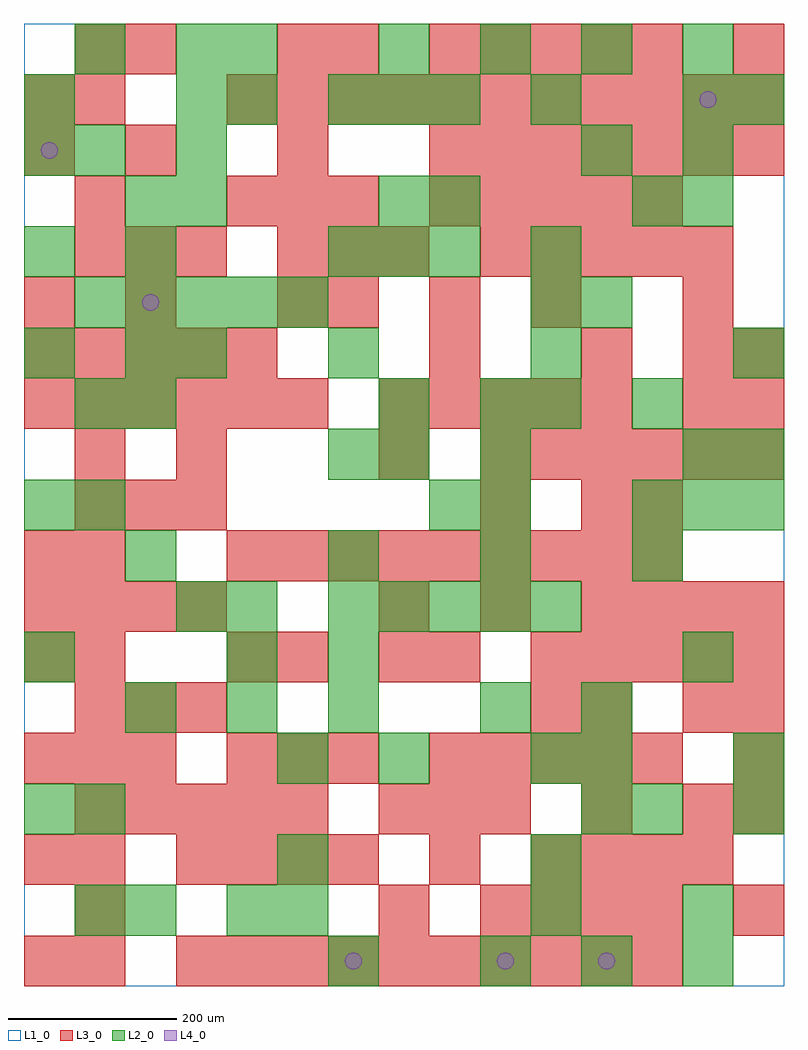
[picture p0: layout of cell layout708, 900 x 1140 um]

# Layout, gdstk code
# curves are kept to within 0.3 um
import gdstk
lib = gdstk.Library(unit=1e-6, precision=1e-09)
def R(c, l, rs):  # rectangles x0, y0, x1, y1
    for r in rs: c.add(gdstk.rectangle(r[:2], r[2:], *l))
def A(c, l, x, y, w, h, nx, ny, dx, dy):  # array of equal rectangles
    R(c, l, [(x+i*dx, y+j*dy, x+i*dx+w, y+j*dy+h) for i in range(nx) for j in range(ny)])
def P(c, l, *ps):  # polygons
    for p in ps: c.add(gdstk.Polygon(p, *l))
L1_0 = (1, 0)
L2_0 = (2, 0)
L3_0 = (3, 0)
L4_0 = (4, 0)

layout708 = lib.new_cell('layout708')
R(layout708, L1_0, [(0,0,900,1140)])
A(layout708, L2_0, 540, 0, 60, 60, 3, 1, 120, 0)
A(layout708, L2_0, 0, 180, 60, 60, 1, 4, 0, 180)
A(layout708, L2_0, 660, 180, 60, 60, 1, 3, 0, 60)
A(layout708, L2_0, 120, 300, 60, 60, 3, 1, 120, 0)
A(layout708, L2_0, 360, 420, 60, 60, 5, 1, 60, 0)
A(layout708, L2_0, 360, 480, 60, 60, 3, 1, 180, 0)
A(layout708, L2_0, 540, 540, 60, 60, 1, 3, 0, 60)
A(layout708, L2_0, 720, 540, 60, 60, 3, 1, 60, 0)
A(layout708, L2_0, 360, 720, 60, 60, 3, 1, 240, 0)
A(layout708, L2_0, 60, 780, 60, 60, 5, 1, 60, 0)
A(layout708, L2_0, 360, 840, 60, 60, 3, 2, 60, 180)
A(layout708, L2_0, 180, 900, 60, 60, 1, 4, 0, 60)
A(layout708, L2_0, 780, 900, 60, 60, 1, 3, 0, 60)
A(layout708, L2_0, 420, 1080, 60, 60, 4, 1, 120, 0)
R(layout708, L2_0, [(360,0,420,60), (60,60,120,120), (120,60,180,120), (240,60,300,120), (300,60,360,120), (600,60,660,120), (780,60,840,120), (300,120,360,180), (600,120,660,180), (60,180,120,240), (720,180,780,240), (840,180,900,240), (300,240,360,300), (420,240,480,300), (600,240,660,300), (840,240,900,300), (540,300,600,360), (240,360,300,420), (360,360,420,420), (780,360,840,420), (180,420,240,480), (240,420,300,480), (120,480,180,540), (60,540,120,600), (480,540,540,600), (360,600,420,660), (420,600,480,660), (780,600,840,660), (840,600,900,660), (60,660,120,720), (120,660,180,720), (420,660,480,720), (600,660,660,720), (720,660,780,720), (120,720,180,780), (180,720,240,780), (600,780,660,840), (660,780,720,840), (0,840,60,900), (120,840,180,900), (600,840,660,900), (120,900,180,960), (420,900,480,960), (480,900,540,960), (720,900,780,960), (0,960,60,1020), (60,960,120,1020), (660,960,720,1020), (0,1020,60,1080), (240,1020,300,1080), (600,1020,660,1080), (840,1020,900,1080), (60,1080,120,1140), (240,1080,300,1140)])
A(layout708, L3_0, 60, 0, 60, 60, 1, 3, 0, 60)
A(layout708, L3_0, 180, 0, 60, 60, 10, 1, 60, 0)
A(layout708, L3_0, 540, 60, 60, 60, 4, 1, 60, 0)
A(layout708, L3_0, 180, 120, 60, 60, 4, 1, 60, 0)
A(layout708, L3_0, 600, 120, 60, 60, 4, 1, 60, 0)
A(layout708, L3_0, 60, 180, 60, 60, 5, 1, 60, 0)
A(layout708, L3_0, 420, 180, 60, 60, 3, 1, 60, 0)
A(layout708, L3_0, 840, 180, 60, 60, 1, 3, 0, 60)
A(layout708, L3_0, 0, 240, 60, 60, 3, 1, 60, 0)
A(layout708, L3_0, 240, 240, 60, 60, 3, 2, 60, 660)
A(layout708, L3_0, 480, 240, 60, 60, 5, 2, 60, 660)
A(layout708, L3_0, 60, 300, 60, 60, 3, 2, 60, 240)
A(layout708, L3_0, 60, 360, 60, 60, 1, 3, 0, 120)
A(layout708, L3_0, 600, 360, 60, 60, 5, 1, 60, 0)
A(layout708, L3_0, 0, 420, 60, 60, 4, 1, 60, 0)
A(layout708, L3_0, 420, 420, 60, 60, 3, 1, 120, 0)
A(layout708, L3_0, 720, 420, 60, 60, 3, 1, 60, 0)
A(layout708, L3_0, 240, 480, 60, 60, 9, 1, 60, 0)
A(layout708, L3_0, 540, 600, 60, 60, 6, 2, 60, 360)
A(layout708, L3_0, 0, 660, 60, 60, 6, 1, 60, 0)
A(layout708, L3_0, 420, 660, 60, 60, 5, 1, 60, 0)
A(layout708, L3_0, 780, 660, 60, 60, 1, 3, 0, 60)
A(layout708, L3_0, 0, 720, 60, 60, 5, 1, 60, 0)
A(layout708, L3_0, 360, 780, 60, 60, 3, 1, 120, 0)
A(layout708, L3_0, 60, 840, 60, 60, 3, 1, 60, 0)
A(layout708, L3_0, 300, 840, 60, 60, 3, 1, 60, 0)
A(layout708, L3_0, 540, 840, 60, 60, 5, 1, 60, 0)
A(layout708, L3_0, 120, 960, 60, 60, 3, 1, 180, 0)
A(layout708, L3_0, 240, 1020, 60, 60, 11, 1, 60, 0)
A(layout708, L3_0, 480, 1080, 60, 60, 5, 1, 60, 0)
R(layout708, L3_0, [(0,0,60,60), (420,60,480,120), (840,60,900,120), (0,120,60,180), (480,120,540,180), (660,180,720,240), (780,180,840,240), (600,300,660,360), (660,300,720,360), (780,300,840,360), (0,360,60,420), (240,360,300,420), (300,360,360,420), (420,360,480,420), (480,360,540,420), (0,480,60,540), (540,540,600,600), (660,540,720,600), (720,540,780,600), (180,600,240,660), (420,600,480,660), (840,660,900,720), (480,720,540,780), (660,720,720,780), (840,720,900,780), (0,780,60,840), (120,780,180,840), (300,780,360,840), (60,900,120,960), (0,960,60,1020), (0,1020,60,1080), (60,1020,120,1080), (60,1080,120,1140), (120,1080,180,1140), (300,1080,360,1140), (360,1080,420,1140), (840,1080,900,1140)])
P(layout708, L4_0, [(40,990),(39.239,993.827),(37.071,997.071),(33.827,999.239),(30,1000),(26.173,999.239),(22.929,997.071),(20.761,993.827),(20,990),(20.761,986.173),(22.929,982.929),(26.173,980.761),(30,980),(33.827,980.761),(37.071,982.929),(39.239,986.173)],
  [(160,810),(159.239,813.827),(157.071,817.071),(153.827,819.239),(150,820),(146.173,819.239),(142.929,817.071),(140.761,813.827),(140,810),(140.761,806.173),(142.929,802.929),(146.173,800.761),(150,800),(153.827,800.761),(157.071,802.929),(159.239,806.173)],
  [(400,30),(399.239,33.827),(397.071,37.071),(393.827,39.239),(390,40),(386.173,39.239),(382.929,37.071),(380.761,33.827),(380,30),(380.761,26.173),(382.929,22.929),(386.173,20.761),(390,20),(393.827,20.761),(397.071,22.929),(399.239,26.173)],
  [(580,30),(579.239,33.827),(577.071,37.071),(573.827,39.239),(570,40),(566.173,39.239),(562.929,37.071),(560.761,33.827),(560,30),(560.761,26.173),(562.929,22.929),(566.173,20.761),(570,20),(573.827,20.761),(577.071,22.929),(579.239,26.173)],
  [(700,30),(699.239,33.827),(697.071,37.071),(693.827,39.239),(690,40),(686.173,39.239),(682.929,37.071),(680.761,33.827),(680,30),(680.761,26.173),(682.929,22.929),(686.173,20.761),(690,20),(693.827,20.761),(697.071,22.929),(699.239,26.173)],
  [(820,1050),(819.239,1053.827),(817.071,1057.071),(813.827,1059.239),(810,1060),(806.173,1059.239),(802.929,1057.071),(800.761,1053.827),(800,1050),(800.761,1046.173),(802.929,1042.929),(806.173,1040.761),(810,1040),(813.827,1040.761),(817.071,1042.929),(819.239,1046.173)])

lib.write_gds('layout708.gds')
